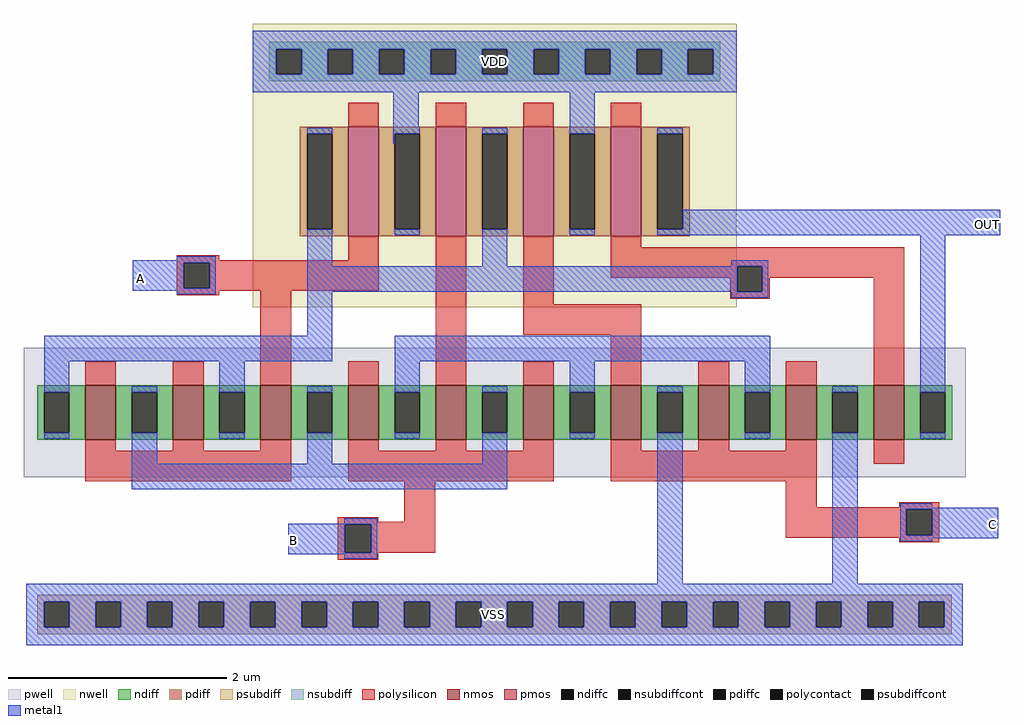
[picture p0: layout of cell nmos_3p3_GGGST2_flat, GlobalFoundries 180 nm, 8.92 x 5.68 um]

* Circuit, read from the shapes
.subckt nmos_3p3_GGGST2_flat A B C OUT VDD VSS
XM1 n1 A n2 VSS nfet_03v3 w=0.5u l=0.28u m=3
XM2 n3 B n1 VSS nfet_03v3 w=0.5u l=0.28u m=3
XM3 VSS C n3 VSS nfet_03v3 w=0.5u l=0.28u m=3
XM4 OUT n2 VSS VSS nfet_03v3 w=0.5u l=0.28u
XM5 VDD A n2 VDD pfet_03v3 w=1u l=0.28u
XM6 n2 B VDD VDD pfet_03v3 w=1u l=0.28u
XM7 VDD C n2 VDD pfet_03v3 w=1u l=0.28u
XM8 OUT n2 VDD VDD pfet_03v3 w=1u l=0.28u
.ends

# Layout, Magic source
magic
tech gf180mcuC
magscale 1 10
<< nwell >>
rect 418 310 1302 828
<< pwell >>
rect 0 0 1720 236
<< nmos >>
rect 112 68 168 168
rect 272 68 328 168
rect 432 68 488 168
rect 592 68 648 168
rect 752 68 808 168
rect 912 68 968 168
rect 1072 68 1128 168
rect 1232 68 1288 168
rect 1392 68 1448 168
rect 1552 68 1608 168
<< pmos >>
rect 592 440 648 640
rect 752 440 808 640
rect 912 440 968 640
rect 1072 440 1128 640
<< ndiff >>
rect 24 155 112 168
rect 24 81 37 155
rect 83 81 112 155
rect 24 68 112 81
rect 168 155 272 168
rect 168 81 197 155
rect 243 81 272 155
rect 168 68 272 81
rect 328 155 432 168
rect 328 81 357 155
rect 403 81 432 155
rect 328 68 432 81
rect 488 155 592 168
rect 488 81 517 155
rect 563 81 592 155
rect 488 68 592 81
rect 648 155 752 168
rect 648 81 677 155
rect 723 81 752 155
rect 648 68 752 81
rect 808 155 912 168
rect 808 81 837 155
rect 883 81 912 155
rect 808 68 912 81
rect 968 155 1072 168
rect 968 81 997 155
rect 1043 81 1072 155
rect 968 68 1072 81
rect 1128 155 1232 168
rect 1128 81 1157 155
rect 1203 81 1232 155
rect 1128 68 1232 81
rect 1288 155 1392 168
rect 1288 81 1317 155
rect 1363 81 1392 155
rect 1288 68 1392 81
rect 1448 155 1552 168
rect 1448 81 1477 155
rect 1523 81 1552 155
rect 1448 68 1552 81
rect 1608 155 1696 168
rect 1608 81 1637 155
rect 1683 81 1696 155
rect 1608 68 1696 81
<< pdiff >>
rect 504 627 592 640
rect 504 453 517 627
rect 563 453 592 627
rect 504 440 592 453
rect 648 627 752 640
rect 648 453 677 627
rect 723 453 752 627
rect 648 440 752 453
rect 808 627 912 640
rect 808 453 837 627
rect 883 453 912 627
rect 808 440 912 453
rect 968 627 1072 640
rect 968 453 997 627
rect 1043 453 1072 627
rect 968 440 1072 453
rect 1128 627 1216 640
rect 1128 453 1157 627
rect 1203 453 1216 627
rect 1128 440 1216 453
<< ndiffc >>
rect 37 81 83 155
rect 197 81 243 155
rect 357 81 403 155
rect 517 81 563 155
rect 677 81 723 155
rect 837 81 883 155
rect 997 81 1043 155
rect 1157 81 1203 155
rect 1317 81 1363 155
rect 1477 81 1523 155
rect 1637 81 1683 155
<< pdiffc >>
rect 517 453 563 627
rect 677 453 723 627
rect 837 453 883 627
rect 997 453 1043 627
rect 1157 453 1203 627
<< psubdiff >>
rect 24 -228 1695 -215
rect 24 -274 37 -228
rect 83 -274 131 -228
rect 177 -274 225 -228
rect 271 -274 319 -228
rect 365 -274 413 -228
rect 459 -274 507 -228
rect 553 -274 601 -228
rect 647 -274 695 -228
rect 741 -274 789 -228
rect 835 -274 883 -228
rect 929 -274 977 -228
rect 1023 -274 1071 -228
rect 1117 -274 1165 -228
rect 1211 -274 1259 -228
rect 1305 -274 1353 -228
rect 1399 -274 1447 -228
rect 1493 -274 1541 -228
rect 1587 -274 1635 -228
rect 1681 -274 1695 -228
rect 24 -287 1695 -274
<< nsubdiff >>
rect 448 782 1272 795
rect 448 736 461 782
rect 507 736 555 782
rect 601 736 649 782
rect 695 736 743 782
rect 789 736 837 782
rect 883 736 931 782
rect 977 736 1025 782
rect 1071 736 1119 782
rect 1165 736 1213 782
rect 1259 736 1272 782
rect 448 723 1272 736
<< psubdiffcont >>
rect 37 -274 83 -228
rect 131 -274 177 -228
rect 225 -274 271 -228
rect 319 -274 365 -228
rect 413 -274 459 -228
rect 507 -274 553 -228
rect 601 -274 647 -228
rect 695 -274 741 -228
rect 789 -274 835 -228
rect 883 -274 929 -228
rect 977 -274 1023 -228
rect 1071 -274 1117 -228
rect 1165 -274 1211 -228
rect 1259 -274 1305 -228
rect 1353 -274 1399 -228
rect 1447 -274 1493 -228
rect 1541 -274 1587 -228
rect 1635 -274 1681 -228
<< nsubdiffcont >>
rect 461 736 507 782
rect 555 736 601 782
rect 649 736 695 782
rect 743 736 789 782
rect 837 736 883 782
rect 931 736 977 782
rect 1025 736 1071 782
rect 1119 736 1165 782
rect 1213 736 1259 782
<< polysilicon >>
rect 592 640 648 684
rect 752 640 808 684
rect 912 640 968 684
rect 1072 640 1128 684
rect 279 396 357 405
rect 592 396 648 440
rect 279 392 648 396
rect 279 345 292 392
rect 339 345 648 392
rect 279 340 648 345
rect 279 332 357 340
rect 112 168 168 212
rect 272 168 328 212
rect 432 168 488 340
rect 592 168 648 212
rect 752 168 808 440
rect 912 316 968 440
rect 1072 420 1128 440
rect 1072 385 1608 420
rect 1072 364 1303 385
rect 1290 339 1303 364
rect 1349 364 1608 385
rect 1349 339 1362 364
rect 1290 326 1362 339
rect 912 260 1128 316
rect 912 168 968 212
rect 1072 168 1128 260
rect 1232 168 1288 212
rect 1392 168 1448 212
rect 1552 168 1608 364
rect 112 48 168 68
rect 272 48 328 68
rect 432 48 488 68
rect 112 -8 488 48
rect 592 48 648 68
rect 752 48 808 68
rect 912 48 968 68
rect 592 -8 968 48
rect 1072 48 1128 68
rect 1232 48 1288 68
rect 1392 48 1448 68
rect 1072 -8 1448 48
rect 1552 24 1608 68
rect 573 -82 647 -73
rect 695 -82 751 -8
rect 573 -86 751 -82
rect 573 -138 586 -86
rect 634 -138 751 -86
rect 1392 -55 1448 -8
rect 1599 -55 1672 -46
rect 1392 -59 1672 -55
rect 1392 -106 1612 -59
rect 1659 -106 1672 -59
rect 1392 -111 1672 -106
rect 1599 -119 1672 -111
rect 573 -151 647 -138
<< polycontact >>
rect 292 345 339 392
rect 1303 339 1349 385
rect 586 -138 634 -86
rect 1612 -106 1659 -59
<< metal1 >>
rect 418 782 1302 815
rect 418 736 461 782
rect 507 736 555 782
rect 601 736 649 782
rect 695 736 743 782
rect 789 736 837 782
rect 883 736 931 782
rect 977 736 1025 782
rect 1071 736 1119 782
rect 1165 736 1213 782
rect 1259 736 1302 782
rect 418 703 1302 736
rect 675 638 721 703
rect 517 627 563 638
rect 675 627 723 638
rect 675 609 677 627
rect 279 396 350 403
rect 199 392 350 396
rect 199 345 292 392
rect 339 345 350 392
rect 199 340 350 345
rect 279 334 350 340
rect 517 385 563 453
rect 677 442 723 453
rect 837 627 883 638
rect 837 385 883 453
rect 997 627 1043 703
rect 997 442 1043 453
rect 1157 627 1203 638
rect 1203 453 1783 488
rect 1157 442 1783 453
rect 1292 385 1360 396
rect 517 339 1303 385
rect 1349 339 1360 385
rect 517 258 563 339
rect 1292 328 1360 339
rect 37 212 563 258
rect 677 212 1363 258
rect 37 155 83 212
rect 37 70 83 81
rect 197 155 243 166
rect 197 24 243 81
rect 357 155 403 212
rect 357 70 403 81
rect 517 155 563 166
rect 517 24 563 81
rect 677 155 723 212
rect 677 70 723 81
rect 837 155 883 166
rect 837 24 883 81
rect 997 155 1043 212
rect 997 70 1043 81
rect 1157 155 1203 166
rect 197 -22 883 24
rect 585 -85 645 -75
rect 483 -86 645 -85
rect 483 -138 586 -86
rect 634 -138 645 -86
rect 483 -141 645 -138
rect 585 -149 645 -141
rect 1157 -195 1203 81
rect 1317 155 1363 212
rect 1317 70 1363 81
rect 1477 155 1523 166
rect 1477 -195 1523 81
rect 1637 155 1683 442
rect 1637 70 1683 81
rect 1601 -56 1659 -48
rect 1601 -59 1780 -56
rect 1601 -106 1612 -59
rect 1659 -106 1780 -59
rect 1601 -112 1780 -106
rect 1601 -117 1659 -112
rect 4 -228 1715 -195
rect 4 -274 37 -228
rect 83 -274 131 -228
rect 177 -274 225 -228
rect 271 -274 319 -228
rect 365 -274 413 -228
rect 459 -274 507 -228
rect 553 -274 601 -228
rect 647 -274 695 -228
rect 741 -274 789 -228
rect 835 -274 883 -228
rect 929 -274 977 -228
rect 1023 -274 1071 -228
rect 1117 -274 1165 -228
rect 1211 -274 1259 -228
rect 1305 -274 1353 -228
rect 1399 -274 1447 -228
rect 1493 -274 1541 -228
rect 1587 -274 1635 -228
rect 1681 -274 1715 -228
rect 4 -307 1715 -274
<< labels >>
flabel metal1 493 -115 493 -115 0 FreeSans 320 0 0 0 B
port 2 nsew
flabel metal1 1760 462 1760 462 0 FreeSans 320 0 0 0 OUT
port 5 nsew
flabel nsubdiffcont 860 759 860 759 0 FreeSans 320 0 0 0 VDD
port 6 nsew
flabel psubdiff 858 -251 858 -251 0 FreeSans 320 0 0 0 VSS
port 8 nsew
flabel metal1 1770 -86 1770 -86 0 FreeSans 320 180 0 0 C
port 3 nsew
flabel metal1 213 362 213 362 0 FreeSans 320 0 0 0 A
port 1 nsew
<< end >>
